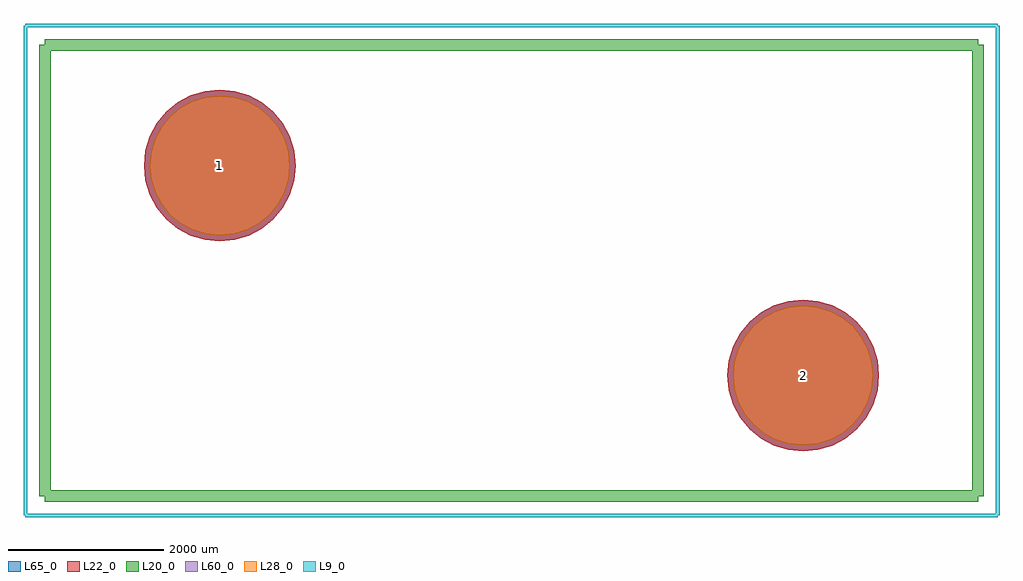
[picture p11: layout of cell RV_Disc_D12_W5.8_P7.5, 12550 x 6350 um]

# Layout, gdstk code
import gdstk
lib = gdstk.Library(unit=1e-6, precision=1e-09)
def P(c, l, *ps):  # polygons
    for p in ps: c.add(gdstk.Polygon(p, *l))
L9_0 = (9, 0)
L20_0 = (20, 0)
L22_0 = (22, 0)
L28_0 = (28, 0)
L60_0 = (60, 0)
L65_0 = (65, 0)

rv_disc_d12_w5_8_p7_5 = lib.new_cell('RV_Disc_D12_W5.8_P7.5')
P(rv_disc_d12_w5_8_p7_5, L22_0, [(8475,-2700),(8456.266,-2509.787),(8400.783,-2326.884),(8310.683,-2158.319),(8189.429,-2010.571),(8041.681,-1889.317),(7873.116,-1799.217),(7690.213,-1743.734),(7500,-1725),(7309.787,-1743.734),(7126.884,-1799.217),(6958.319,-1889.317),(6810.571,-2010.571),(6689.317,-2158.319),(6599.217,-2326.884),(6543.734,-2509.787),(6525,-2700),(6543.734,-2890.213),(6599.217,-3073.116),(6689.317,-3241.681),(6810.571,-3389.429),(6958.319,-3510.683),(7126.884,-3600.783),(7309.787,-3656.266),(7500,-3675),(7690.213,-3656.266),(7873.116,-3600.783),(8041.681,-3510.683),(8189.429,-3389.429),(8310.683,-3241.681),(8400.783,-3073.116),(8456.266,-2890.213)],
  [(975,0),(956.266,190.213),(900.783,373.116),(810.683,541.681),(689.429,689.429),(541.681,810.683),(373.116,900.783),(190.213,956.266),(0,975),(-190.213,956.266),(-373.116,900.783),(-541.681,810.683),(-689.429,689.429),(-810.683,541.681),(-900.783,373.116),(-956.266,190.213),(-975,0),(-956.266,-190.213),(-900.783,-373.116),(-810.683,-541.681),(-689.429,-689.429),(-541.681,-810.683),(-373.116,-900.783),(-190.213,-956.266),(0,-975),(190.213,-956.266),(373.116,-900.783),(541.681,-810.683),(689.429,-689.429),(810.683,-541.681),(900.783,-373.116),(956.266,-190.213)])
P(rv_disc_d12_w5_8_p7_5, L28_0, [(8400,-2700),(8382.707,-2524.419),(8331.492,-2355.585),(8248.323,-2199.987),(8136.396,-2063.604),(8000.013,-1951.677),(7844.415,-1868.508),(7675.581,-1817.293),(7500,-1800),(7324.419,-1817.293),(7155.585,-1868.508),(6999.987,-1951.677),(6863.604,-2063.604),(6751.677,-2199.987),(6668.508,-2355.585),(6617.293,-2524.419),(6600,-2700),(6617.293,-2875.581),(6668.508,-3044.415),(6751.677,-3200.013),(6863.604,-3336.396),(6999.987,-3448.323),(7155.585,-3531.492),(7324.419,-3582.707),(7500,-3600),(7675.581,-3582.707),(7844.415,-3531.492),(8000.013,-3448.323),(8136.396,-3336.396),(8248.323,-3200.013),(8331.492,-3044.415),(8382.707,-2875.581)],
  [(900,0),(882.707,175.581),(831.492,344.415),(748.323,500.013),(636.396,636.396),(500.013,748.323),(344.415,831.492),(175.581,882.707),(0,900),(-175.581,882.707),(-344.415,831.492),(-500.013,748.323),(-636.396,636.396),(-748.323,500.013),(-831.492,344.415),(-882.707,175.581),(-900,0),(-882.707,-175.581),(-831.492,-344.415),(-748.323,-500.013),(-636.396,-636.396),(-500.013,-748.323),(-344.415,-831.492),(-175.581,-882.707),(0,-900),(175.581,-882.707),(344.415,-831.492),(500.013,-748.323),(636.396,-636.396),(748.323,-500.013),(831.492,-344.415),(882.707,-175.581)])
P(rv_disc_d12_w5_8_p7_5, L60_0, [(8400,-2700),(8382.707,-2524.419),(8331.492,-2355.585),(8248.323,-2199.987),(8136.396,-2063.604),(8000.013,-1951.677),(7844.415,-1868.508),(7675.581,-1817.293),(7500,-1800),(7324.419,-1817.293),(7155.585,-1868.508),(6999.987,-1951.677),(6863.604,-2063.604),(6751.677,-2199.987),(6668.508,-2355.585),(6617.293,-2524.419),(6600,-2700),(6617.293,-2875.581),(6668.508,-3044.415),(6751.677,-3200.013),(6863.604,-3336.396),(6999.987,-3448.323),(7155.585,-3531.492),(7324.419,-3582.707),(7500,-3600),(7675.581,-3582.707),(7844.415,-3531.492),(8000.013,-3448.323),(8136.396,-3336.396),(8248.323,-3200.013),(8331.492,-3044.415),(8382.707,-2875.581)],
  [(900,0),(882.707,175.581),(831.492,344.415),(748.323,500.013),(636.396,636.396),(500.013,748.323),(344.415,831.492),(175.581,882.707),(0,900),(-175.581,882.707),(-344.415,831.492),(-500.013,748.323),(-636.396,636.396),(-748.323,500.013),(-831.492,344.415),(-882.707,175.581),(-900,0),(-882.707,-175.581),(-831.492,-344.415),(-748.323,-500.013),(-636.396,-636.396),(-500.013,-748.323),(-344.415,-831.492),(-175.581,-882.707),(0,-900),(175.581,-882.707),(344.415,-831.492),(500.013,-748.323),(636.396,-636.396),(748.323,-500.013),(831.492,-344.415),(882.707,-175.581)])
P(rv_disc_d12_w5_8_p7_5, L65_0, [(8475,-2700),(8456.266,-2509.787),(8400.783,-2326.884),(8310.683,-2158.319),(8189.429,-2010.571),(8041.681,-1889.317),(7873.116,-1799.217),(7690.213,-1743.734),(7500,-1725),(7309.787,-1743.734),(7126.884,-1799.217),(6958.319,-1889.317),(6810.571,-2010.571),(6689.317,-2158.319),(6599.217,-2326.884),(6543.734,-2509.787),(6525,-2700),(6543.734,-2890.213),(6599.217,-3073.116),(6689.317,-3241.681),(6810.571,-3389.429),(6958.319,-3510.683),(7126.884,-3600.783),(7309.787,-3656.266),(7500,-3675),(7690.213,-3656.266),(7873.116,-3600.783),(8041.681,-3510.683),(8189.429,-3389.429),(8310.683,-3241.681),(8400.783,-3073.116),(8456.266,-2890.213)],
  [(975,0),(956.266,190.213),(900.783,373.116),(810.683,541.681),(689.429,689.429),(541.681,810.683),(373.116,900.783),(190.213,956.266),(0,975),(-190.213,956.266),(-373.116,900.783),(-541.681,810.683),(-689.429,689.429),(-810.683,541.681),(-900.783,373.116),(-956.266,190.213),(-975,0),(-956.266,-190.213),(-900.783,-373.116),(-810.683,-541.681),(-689.429,-689.429),(-541.681,-810.683),(-373.116,-900.783),(-190.213,-956.266),(0,-975),(190.213,-956.266),(373.116,-900.783),(541.681,-810.683),(689.429,-689.429),(810.683,-541.681),(900.783,-373.116),(956.266,-190.213)])
rv_disc_d12_w5_8_p7_5.add(gdstk.FlexPath([(-2250,1550),(-2250,-4250)], 149.998, ends="flush", simple_path=True, layer=20, datatype=0))  # L20_0
rv_disc_d12_w5_8_p7_5.add(gdstk.FlexPath([(9750,1550),(9750,-4250)], 149.998, ends="flush", simple_path=True, layer=20, datatype=0))  # L20_0
rv_disc_d12_w5_8_p7_5.add(gdstk.FlexPath([(-2250,1550),(9750,1550)], 149.998, ends="flush", simple_path=True, layer=20, datatype=0))  # L20_0
rv_disc_d12_w5_8_p7_5.add(gdstk.FlexPath([(-2250,-4250),(9750,-4250)], 149.998, ends="flush", simple_path=True, layer=20, datatype=0))  # L20_0
rv_disc_d12_w5_8_p7_5.add(gdstk.FlexPath([(-2500,1800),(-2500,-4500)], 50, ends="flush", simple_path=True, layer=9, datatype=0))  # L9_0
rv_disc_d12_w5_8_p7_5.add(gdstk.FlexPath([(10000,1800),(10000,-4500)], 50, ends="flush", simple_path=True, layer=9, datatype=0))  # L9_0
rv_disc_d12_w5_8_p7_5.add(gdstk.FlexPath([(-2500,1800),(10000,1800)], 50, ends="flush", simple_path=True, layer=9, datatype=0))  # L9_0
rv_disc_d12_w5_8_p7_5.add(gdstk.FlexPath([(-2500,-4500),(10000,-4500)], 50, ends="flush", simple_path=True, layer=9, datatype=0))  # L9_0
rv_disc_d12_w5_8_p7_5.add(gdstk.Label('2', (7500,-2700), layer=28, texttype=0))
rv_disc_d12_w5_8_p7_5.add(gdstk.Label('1', (0,0), layer=28, texttype=0))
rv_disc_d12_w5_8_p7_5.add(gdstk.Label('type', (3750,2550), layer=9, texttype=0))
rv_disc_d12_w5_8_p7_5.add(gdstk.Label('devicename', (3750,-5250), layer=9, texttype=0))

lib.write_gds('RV_Disc_D12_W5.8_P7.5.gds')
